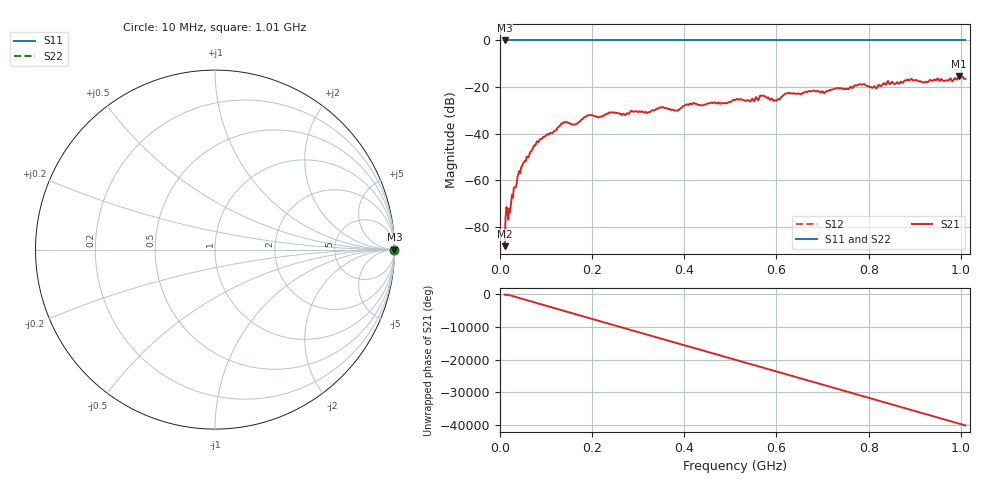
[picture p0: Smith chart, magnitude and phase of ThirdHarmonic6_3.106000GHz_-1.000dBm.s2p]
! 8/17/2025 9:10:43 AM
! C:\ANRITSUVNA\TEMP\TEMP.S2P
! CHANNEL.1
! TR.MEASUREMENT
! RAW.DATA
! RF.CORRECTION.OFF
! AVERAGING.OFF
! IF.BANDWIDTH: 5KHZ
! SWEEPTYPE:  FREQ.SWEEP(Linear)
! Reference Plane Port Info
! PORT:  PORT1  PORT2
! DISTANCE:  0  m  0  m
! TIME:  0  s  0  s
! PHASE.OFFSET:  0  deg.  0  deg.
! LOSS:  0  dB  0  dB
! REF.LOSS:  0  dB  0  dB
! REF.FREQ:  0  Hz  0  Hz
! Power Info
! POWER:  -20  dBm  -20  dBm
! EFF.POWER:  -20  dBm  -20  dBm
! SOURCE.ATTEN:  0  dB  0  dB
! TEST.ATTEN:  0  dB  0  dB
# GHZ S RI R 50.0
! FREQ.GHZ  S11RE  S11IM  S21RE  S21IM  S12RE  S12IM  S22RE  S22IM
!; PortSelection: Port_12
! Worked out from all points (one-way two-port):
!   501 points, 10 MHz to 1.01 GHz, reference 50 ohm
!   highest |S21| = -15.30 dB at 996 MHz (marker M1); lowest = -88.4 dB at 10 MHz (marker M2)
!   lowest |S11| = 0.0 dB at 10 MHz (marker M3)
!   |S11| at or under -10 dB: nowhere
!   |S22| runs from 0.0 to 0.0 dB; largest |S21 - S12| = 1.2
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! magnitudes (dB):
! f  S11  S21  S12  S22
! 10 MHz  0.0  -88.4  0.0  0.0
! 20 MHz  0.0  -72.2  0.0  0.0
! 42 MHz  0.0  -56.1  0.0  0.0
! 76 MHz  0.0  -45.2  0.0  0.0
! 136 MHz  0.0  -35.7  0.0  0.0
! 162 MHz  0.0  -36.1  0.0  0.0
! 178 MHz  0.0  -33.8  0.0  0.0
! 194 MHz  0.0  -32.0  0.0  0.0
! 344 MHz  0.0  -29.3  0.0  0.0
! 384 MHz  0.0  -30.1  0.0  0.0
! 416 MHz  0.0  -27.4  0.0  0.0
! 510 MHz  0.0  -25.6  0.0  0.0
! 548 MHz  0.0  -25.0  0.0  0.0
! 568 MHz  0.0  -23.7  0.0  0.0
! 596 MHz  0.0  -25.6  0.0  0.0
! 622 MHz  0.0  -22.7  0.0  0.0
! 678 MHz  0.0  -21.8  0.0  0.0
! 784 MHz  0.0  -18.9  0.0  0.0
! 814 MHz  0.0  -19.9  0.0  0.0
! 844 MHz  0.0  -18.2  0.0  0.0
! 996 MHz  0.0  -15.3  0.0  0.0
! 1.01 GHz  0.0  -16.5  0.0  0.0
